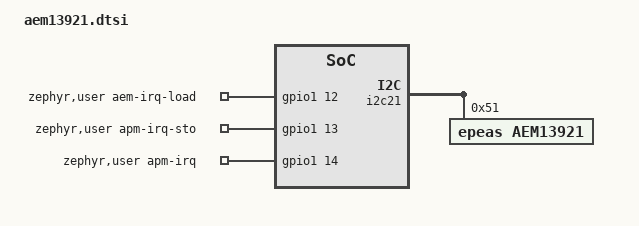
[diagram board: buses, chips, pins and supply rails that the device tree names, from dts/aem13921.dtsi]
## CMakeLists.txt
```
# SPDX-License-Identifier: Apache-2.0

cmake_minimum_required(VERSION 3.20.0)

set(EXTRA_DTC_OVERLAY_FILE "dts/dts.overlay")
set(TOOLCHAIN_HAS_PICOLIBC ON CACHE BOOL "Force toolchain picolibc support" FORCE)
list(APPEND ZEPHYR_EXTRA_MODULES "/home/theorlangur/myapps/cpp/nrf/libs/aem13921")

find_package(Zephyr REQUIRED HINTS $ENV{ZEPHYR_BASE})
project(aem13921_calibrator)

set(SRCS src/main.cpp)

target_sources(app PRIVATE ${SRCS})

target_compile_options(app PRIVATE -fno-omit-frame-pointer)

target_link_libraries(app PRIVATE c stdc++ supc++)
target_compile_options(app PRIVATE -D__cpp_concepts=202002L -Wno-builtin-macro-redefined -Wno-invalid-offsetof -Wno-unused-variable -Wno-double-promotion)
target_compile_options(app PRIVATE -freflection)
```

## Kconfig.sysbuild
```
#
# Copyright (c) 2024 Nordic Semiconductor
#
# SPDX-License-Identifier: LicenseRef-Nordic-5-Clause
#

source "${ZEPHYR_BASE}/share/sysbuild/Kconfig"

config NRF_DEFAULT_IPC_RADIO
	default y

# config NETCORE_IPC_RADIO_BT_HCI_IPC
# 	default y
```

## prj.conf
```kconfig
#
# Copyright (c) 2020 Nordic Semiconductor ASA
#
# SPDX-License-Identifier: LicenseRef-Nordic-5-Clause
#
CONFIG_SERIAL=y
CONFIG_GPIO=y
CONFIG_INPUT=y
CONFIG_LED=y
CONFIG_SENSOR=y
CONFIG_PM_DEVICE=y
CONFIG_UART_USE_RUNTIME_CONFIGURE=y
# CONFIG_UART_NRFX_CUSTOM_BAUDRATE=y

CONFIG_HEAP_MEM_POOL_SIZE=8192
CONFIG_SYSTEM_WORKQUEUE_STACK_SIZE=4096
CONFIG_OVERRIDE_FRAME_POINTER_DEFAULT=y
CONFIG_OMIT_FRAME_POINTER=n
CONFIG_EXTRA_EXCEPTION_INFO=y
CONFIG_HW_STACK_PROTECTION=y
CONFIG_DEBUG=y
# CONFIG_NO_OPTIMIZATIONS=y
# CONFIG_DEBUG_OPTIMIZATIONS=n
CONFIG_THREAD_MONITOR=y
CONFIG_DEBUG_THREAD_INFO=y

CONFIG_AEM13921=y
```

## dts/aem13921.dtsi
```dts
/ {
	zephyr,user{
		aem-irq-load-gpios = <&gpio1 12 (GPIO_PULL_DOWN | GPIO_ACTIVE_HIGH)>;
		apm-irq-sto-gpios  = <&gpio1 13 (GPIO_PULL_DOWN | GPIO_ACTIVE_HIGH)>;
		apm-irq-gpios      = <&gpio1 14 (GPIO_PULL_DOWN | GPIO_ACTIVE_HIGH)>;
	};
};


&i2c21 {
	aem13921: aem13921@51{
		compatible="epeas,aem13921";
		reg = <0x51>;
		status = "okay";
		//zephyr,deferred-init;
	};
};

&gpio1 {
	status = "okay";
};
```

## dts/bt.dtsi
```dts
/ {
	chosen {
		zephyr,bt-hci = &bt_hci_sdc;
	};
};

&bt_hci_sdc {
 status = "okay";
};
```

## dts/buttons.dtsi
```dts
/ {
	buttons: buttons {
		compatible = "gpio-keys";
		trigger: button_0 {
			gpios = <&gpio0 1 (GPIO_PULL_UP | GPIO_ACTIVE_LOW)>;
			label = "Trigger";
			zephyr,code = <INPUT_KEY_0>;
		};
	};

	zephyr,user{
		buck-enable-gpios = <&gpio1 11 (GPIO_PULL_UP | GPIO_ACTIVE_LOW)>;
		apm-src1-gpios    = <&gpio1 7 (GPIO_PULL_UP | GPIO_ACTIVE_LOW)>;
		apm-src2-gpios    = <&gpio1 6 (GPIO_PULL_UP | GPIO_ACTIVE_LOW)>;
		apm-buck-gpios    = <&gpio1 5 (GPIO_PULL_UP | GPIO_ACTIVE_LOW)>;
		apm-5v-gpios      = <&gpio1 4 (GPIO_PULL_UP | GPIO_ACTIVE_LOW)>;
	};
};

&gpio0 {
	status = "okay";
};

&gpio1 {
	status = "okay";
};
```

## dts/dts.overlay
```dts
#include "indication.dtsi"
#include "aem13921.dtsi"
#include "buttons.dtsi"
#include "bt.dtsi"

/ {
	leds {
		compatible = "gpio-leds";
		led0: led_0 {
			gpios = <&gpio2 9 GPIO_ACTIVE_HIGH>;
			label = "Red LED 0";
		};
	};
};

&gpio2 {
	status = "okay";
};

&timer20 {
	status = "okay";
};

&pinctrl {
	//i2c sensor bus
	/omit-if-no-ref/ i2c21_default: i2c21_default {
		group1 {
			psels = <NRF_PSEL(TWIM_SDA, 1, 9)>,
				<NRF_PSEL(TWIM_SCL, 1, 10)>;
		};
	};

	/omit-if-no-ref/ i2c21_sleep: i2c21_sleep {
		group1 {
			psels = <NRF_PSEL(TWIM_SDA, 1, 9)>,
				<NRF_PSEL(TWIM_SCL, 1, 10)>;
			low-power-enable;
		};
	};
};

&i2c21 {
	status = "okay";
	pinctrl-0 = <&i2c21_default>;
	pinctrl-1 = <&i2c21_sleep>;
	pinctrl-names = "default", "sleep";
};
```

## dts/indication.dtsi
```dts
/ {
	leds {
		compatible = "gpio-leds";

		measurement_active: measurement {
			gpios = <&gpio2 2 (GPIO_PULL_DOWN | GPIO_ACTIVE_HIGH)>;
			label = "MeasurementActive";
		};
	};
};

&gpio2 {
	status = "okay";
};
```

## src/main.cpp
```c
/*
 * Copyright (c) 2023, Meta
 *
 * SPDX-License-Identifier: Apache-2.0
 */

#include <zephyr/kernel.h>
#include <zephyr/drivers/gpio.h>
#include <zephyr/drivers/i2c.h>
#include <zephyr/drivers/led.h>
#include <zephyr/settings/settings.h>
#include <zephyr/input/input.h>

#include <zephyr/logging/log.h>
#include <zephyr/drivers/sensor/aem13921.hpp>

#include <zephyr/bluetooth/bluetooth.h>

LOG_MODULE_REGISTER(main_log, LOG_LEVEL_INF);


template<class... O>
struct overloaded:O...
{
    using O::operator()...;
};
template<class... O>
overloaded(O... o)->overloaded<O...>;

/**********************************************************************/
/* For testing purposes                                               */
/**********************************************************************/
#define ZEPHYR_USER_NODE DT_PATH(zephyr_user)

static const struct gpio_dt_spec buck_enable = GPIO_DT_SPEC_GET(ZEPHYR_USER_NODE, buck_enable_gpios);
static const struct gpio_dt_spec apm_src1 = GPIO_DT_SPEC_GET(ZEPHYR_USER_NODE, apm_src1_gpios);
static const struct gpio_dt_spec apm_src2 = GPIO_DT_SPEC_GET(ZEPHYR_USER_NODE, apm_src2_gpios);
static const struct gpio_dt_spec apm_buck = GPIO_DT_SPEC_GET(ZEPHYR_USER_NODE, apm_buck_gpios);
static const struct gpio_dt_spec apm_5v = GPIO_DT_SPEC_GET(ZEPHYR_USER_NODE, apm_5v_gpios);

static const struct device *const aem13921_dev = DEVICE_DT_GET(DT_NODELABEL(aem13921));
static const struct gpio_dt_spec aem13921_irq = GPIO_DT_SPEC_GET(ZEPHYR_USER_NODE, apm_irq_gpios);

static const struct gpio_dt_spec measurement_active = GPIO_DT_SPEC_GET(DT_NODELABEL(measurement_active), gpios);

static struct gpio_callback aem_cb_data;

static const struct led_dt_spec led0 = LED_DT_SPEC_GET(DT_NODELABEL(led0));


static struct bt_le_ext_adv *ext_adv;
// Up to ~240 bytes fits cleanly in a single unfragmented extended PDU
static char adv_str[220] = "AEM13921: Initial...";

static struct bt_data ad[] = {
    BT_DATA(BT_DATA_NAME_COMPLETE, adv_str, sizeof(adv_str) - 1),
};

void init_ext_beacon(uint8_t version, int err_pins, int err_aem) {
    bt_enable(nullptr);

    // Create a non-connectable, non-scannable extended advertising set
    bt_le_ext_adv_create(BT_LE_EXT_ADV_NCONN, nullptr, &ext_adv);

    int total_len;
    total_len = snprintf(adv_str, sizeof(adv_str), "AEM13921 Calibrator: ");
    if (err_pins < 0)
	total_len += snprintf(adv_str + total_len, sizeof(adv_str) - total_len, " EPins:%d(%s)", err_pins, strerror(err_pins));
    if (err_aem < 0)
	total_len += snprintf(adv_str + total_len, sizeof(adv_str) - total_len, " EAEM:%d(%s)", err_aem, strerror(-err_aem));
    if (!err_pins && !err_aem)
	total_len += snprintf(adv_str + total_len, sizeof(adv_str) - total_len, " OK, Version: %d", version);

    ad[0].data_len = total_len;
    bt_le_ext_adv_set_data(ext_adv, ad, ARRAY_SIZE(ad), nullptr, 0);
    bt_le_ext_adv_start(ext_adv, BT_LE_EXT_ADV_START_DEFAULT);
}

static uint64_t total_load_power = 0;
static struct k_work aem_work;
static struct k_work aem_finished;
static struct k_work_delayable update_cfg_delayable;

bool g_measurement_state_active = false;
bool g_first_measurement_pending = false;
bool g_async_measurement_stop_request = false;

bool buck_enable_state = false;
bool apm_src1_enable_state = false;
bool apm_src2_enable_state = false;
bool apm_buck_enable_state = false;
bool apm_5v_enable_state = false;

constexpr int measurement_duration_in_windows = (60/*seconds*/ / 0.233/*single window duration*/) + 1;
int windows_accumulated_left = 0;
int errors_encountered = 0;
size_t total_power_src1 = 0;
size_t total_power_src2 = 0;
size_t total_power_buck = 0;
size_t total_power_5v = 0;

static void aem_work_handler(struct k_work *work)
{
    auto state = epeas::aem1392x_get_irq_state(aem13921_dev);
    if (g_first_measurement_pending)
    {
	led_on_dt(&led0);
	g_first_measurement_pending = false;
	//nothing to actually read, we just wanted to clear the IRQ
	if (!g_measurement_state_active)
	{
	    //we're done
	    k_work_submit(&aem_finished);
	}
	return;
    }

    if (state)
    {
	auto s = *state;
	if (s.bits.apm_done)
	{
	    auto add_apm = [](size_t &total, const auto &apm, const char *pPrefix){
		if (apm)
		{
		    std::visit(
			    overloaded{
				[&](const epeas::apm_counter_acc_t &rv) { total += rv.get_value(); },
				[&](const epeas::apm_counter_no_acc_t &rv) { total += rv.value.counter; },
				[&](const epeas::apm_power_meter_acc_t &rv) { total += rv.get_value(); }
			    },
			    *apm
			);
		}else
		{
		    LOG_ERR("%s: failed with %d %s", pPrefix, apm.error(), strerror(apm.error()));
		}
	    };

	    if (apm_buck_enable_state)
	    {
		auto apm_load = epeas::aem1392x_get_apm_load(aem13921_dev);
		add_apm(total_power_buck, apm_load, "APM Load");
	    }

	    if (apm_src1_enable_state)
	    {
		auto apm_src1 = epeas::aem1392x_get_apm_src1(aem13921_dev);
		add_apm(total_power_src1, apm_src1, "APM Src1");
	    }

	    if (apm_src2_enable_state)
	    {
		auto apm_src2 = epeas::aem1392x_get_apm_src2(aem13921_dev);
		add_apm(total_power_src2, apm_src2, "APM Src2");
	    }

	    if (apm_5v_enable_state)
	    {
		auto apm_5v = epeas::aem1392x_get_apm_ch5v(aem13921_dev);
		if (apm_5v)
		{
		    total_power_5v += apm_5v->value;
		}else
		{
		    LOG_ERR("apm 5v: failed with %d %s", apm_5v.error(), strerror(apm_5v.error()));
		}
	    }

	    auto apm_err = epeas::aem1392x_get_apm_error(aem13921_dev);
	    LOG_INF("APM Err: 0x%X", apm_err->byte);
	}

	if (s.bits.apm_error)
	{
	    ++errors_encountered;
	    auto apm_err = epeas::aem1392x_get_apm_error(aem13921_dev);
	    if (apm_err)
	    {
		LOG_INF("APM Err: 0x%X", apm_err->byte);
	    }else
	    {
		LOG_ERR("apm err: failed with %d %s", apm_err.error(), strerror(apm_err.error()));
	    }
	}
    }else
    {
	LOG_ERR("irq state: failed with %d %s", state.error(), strerror(state.error()));
    }

    if (!g_measurement_state_active)
    {
	led_off_dt(&led0);
	//we're done
	k_work_submit(&aem_finished);
    }
}

static void aem_isr(const struct device *dev, struct gpio_callback *cb, uint32_t pins)
{
    if (g_measurement_state_active)
    {
	if (g_first_measurement_pending && !g_async_measurement_stop_request)
	{
	    //g_first_measurement_pending will be reset in aem_work and the calculations skipped
	    //here we just set the indicator pin high to show that we've started measurement
	    gpio_pin_set_dt(&measurement_active, 1);
	}else
	{
	    //normal mode
	    if (--windows_accumulated_left <= 0 || g_async_measurement_stop_request)
	    {
		//we're done
		gpio_pin_set_dt(&measurement_active, 0);
		g_measurement_state_active = false;
		g_async_measurement_stop_request = false;
	    }
	}
	k_work_submit(&aem_work);
    }
}

void update_config_pins()
{
    buck_enable_state = gpio_pin_get_dt(&buck_enable);
    apm_src1_enable_state = gpio_pin_get_dt(&apm_src1);
    apm_src2_enable_state = gpio_pin_get_dt(&apm_src2);
    apm_buck_enable_state = gpio_pin_get_dt(&apm_buck);
    apm_5v_enable_state = gpio_pin_get_dt(&apm_5v);
}

static void aem_update_cfg(struct k_work *work)
{
    update_config_pins();
    bt_le_ext_adv_stop(ext_adv);
    int total_len = snprintf(adv_str, sizeof(adv_str), "AEM13921:");
    if (buck_enable_state)
	total_len += snprintf(adv_str + total_len, sizeof(adv_str) - total_len, " B;");
    if (apm_src1_enable_state)
	total_len += snprintf(adv_str + total_len, sizeof(adv_str) - total_len, " AS1;");
    if (apm_src2_enable_state)
	total_len += snprintf(adv_str + total_len, sizeof(adv_str) - total_len, " AS2;");
    if (apm_buck_enable_state)
	total_len += snprintf(adv_str + total_len, sizeof(adv_str) - total_len, " AB;");
    if (apm_5v_enable_state)
	total_len += snprintf(adv_str + total_len, sizeof(adv_str) - total_len, " A5;");

    ad[0].data_len = total_len;
    bt_le_ext_adv_set_data(ext_adv, ad, ARRAY_SIZE(ad), nullptr, 0);
    bt_le_ext_adv_start(ext_adv, BT_LE_EXT_ADV_START_DEFAULT);
}

static struct gpio_callback cfg_update_cb;

static void update_pin_cfg_isr(const struct device *dev, struct gpio_callback *cb, uint32_t pins)
{
    if (!g_measurement_state_active)
    {
	k_work_reschedule(&update_cfg_delayable, K_MSEC(30));
    }
}

int configure_config_pins()
{
    int err = 0;
    err = gpio_pin_configure_dt(&buck_enable, GPIO_INPUT);
    if (err < 0) return err;

    err = gpio_pin_configure_dt(&apm_src1, GPIO_INPUT);
    if (err < 0) return err;

    err = gpio_pin_configure_dt(&apm_src2, GPIO_INPUT);
    if (err < 0) return err;

    err = gpio_pin_configure_dt(&apm_buck, GPIO_INPUT);
    if (err < 0) return err;

    err = gpio_pin_configure_dt(&apm_5v, GPIO_INPUT);
    if (err < 0) return err;

    err = gpio_pin_configure_dt(&measurement_active, GPIO_OUTPUT);
    if (err < 0) return err;

    k_work_init_delayable(&update_cfg_delayable, aem_update_cfg);
    err = gpio_pin_interrupt_configure_dt(&buck_enable, GPIO_INT_EDGE_BOTH);
    if (err < 0) return err;
    err = gpio_pin_interrupt_configure_dt(&apm_src1, GPIO_INT_EDGE_BOTH);
    if (err < 0) return err;
    err = gpio_pin_interrupt_configure_dt(&apm_src2, GPIO_INT_EDGE_BOTH);
    if (err < 0) return err;
    err = gpio_pin_interrupt_configure_dt(&apm_buck, GPIO_INT_EDGE_BOTH);
    if (err < 0) return err;
    err = gpio_pin_interrupt_configure_dt(&apm_5v, GPIO_INT_EDGE_BOTH);
    if (err < 0) return err;
    gpio_init_callback(&cfg_update_cb, update_pin_cfg_isr, BIT(buck_enable.pin) | BIT(apm_src1.pin) | BIT(apm_src2.pin) | BIT(apm_buck.pin) | BIT(apm_5v.pin));
    err = gpio_add_callback(apm_src1.port, &cfg_update_cb);
    if (err < 0) return err;

    return err;
}

int update_aem_configuration()
{
    if (buck_enable_state)
	epeas::aem1392x_configure_buck(aem13921_dev, epeas::buck_cfg_t{.bits = {.vload = epeas::vload_t::_3_0V, .tmult = epeas::tmult_t::x4}});
    else
	epeas::aem1392x_configure_buck(aem13921_dev, epeas::buck_cfg_t{.bits = {.vload = epeas::vload_t::off, .tmult = epeas::tmult_t::x4}});

    epeas::apm_cfg_t apm_cfg{.bits = {
	.src1 = apm_src1_enable_state,
	.src2 = apm_src2_enable_state,
	.buck = apm_buck_enable_state,
	.ch5v = apm_5v_enable_state,
	.mode = epeas::apm_mode_t::PowerMeter, 
	.win = epeas::apm_window_t::_233ms
    }};
    epeas::aem1392x_configure_src_boost(aem13921_dev, epeas::src_t::_1, epeas::boost_cfg_t{.bits = {.enabled = apm_cfg.bits.src1, .high_power = true}});
    epeas::aem1392x_configure_src_boost(aem13921_dev, epeas::src_t::_2, epeas::boost_cfg_t{.bits = {.enabled = apm_cfg.bits.src2, .high_power = true}});

    if (apm_src1_enable_state)
	epeas::aem1392x_configure_src_regulation_voltage(aem13921_dev, epeas::src_t::_1, 1.5f);
    if (apm_src2_enable_state)
	epeas::aem1392x_configure_src_regulation_voltage(aem13921_dev, epeas::src_t::_2, 1.5f);

    epeas::aem1392x_set_storage_overdischarge_threshold_voltage(aem13921_dev, 3.3f);
    epeas::aem1392x_set_storage_charge_ready_threshold_voltage(aem13921_dev, 3.4f);
    epeas::aem1392x_set_storage_overcharge_threshold_voltage(aem13921_dev, 3.8f);

    {
	epeas::voltage5v_t cfg{};
	cfg.bits.enabled = apm_cfg.bits.ch5v;
	cfg.bits.enabled_cv = false;
	cfg.bits.threshold = 0;
	epeas::aem1392x_configure_5v_charger(aem13921_dev, cfg);
    }

    epeas::aem1392x_configure_apm(aem13921_dev, apm_cfg);
    epeas::aem1392x_set_apm_accumulation_period(aem13921_dev, 1);
    bool needs_irq = (apm_cfg.byte & 0xF) != 0;//first four bits -> enable bits for APM
    {
	epeas::irq_event_t irq_cfg;
	irq_cfg.set_apm_done(needs_irq);
	irq_cfg.set_apm_error(needs_irq);
	epeas::aem1392x_configure_irq(aem13921_dev, irq_cfg);
    }
    if (needs_irq)
    {
	[[maybe_unused]]auto state = epeas::aem1392x_get_irq_state(aem13921_dev);//just to allow future IRQs
    }
    epeas::aem1392x_commit(aem13921_dev);
    return 0;
}

void prepare_measurements()
{
    g_async_measurement_stop_request = false;
    windows_accumulated_left = measurement_duration_in_windows;
    errors_encountered = 0;
    total_power_src1 = 0;
    total_power_src2 = 0;
    total_power_buck = 0;
    total_power_5v = 0;
    g_first_measurement_pending = true;
}

extern "C" void trigger_input_cb(struct input_event *evt, void *user_data)
{
    if (evt->type == INPUT_EV_KEY && evt->code == INPUT_KEY_0 && evt->value == 1) {
	g_measurement_state_active = !g_measurement_state_active;
	LOG_INF("trigger pressed: new active state: %d", g_measurement_state_active);
	if (g_measurement_state_active)
	{
	    bt_le_ext_adv_stop(ext_adv);
	    update_config_pins();
	    if (apm_src1_enable_state || apm_src2_enable_state || apm_buck_enable_state || apm_5v_enable_state)
		prepare_measurements();
	    update_aem_configuration();
	}else
	{
	    //request to stop whatever is running now
	    g_async_measurement_stop_request = true;
	}
    }
}
INPUT_CALLBACK_DEFINE(DEVICE_DT_GET(DT_NODELABEL(buttons)), trigger_input_cb, NULL);


static void aem_work_done(struct k_work *work)
{
    bt_le_ext_adv_stop(ext_adv);
    //enable/update BLE beacon
    int windows_collected = measurement_duration_in_windows - windows_accumulated_left;
    int total_len = snprintf(adv_str, sizeof(adv_str), "AEM13921: W:%d; E:%d;", windows_collected, errors_encountered);
    if (apm_src1_enable_state)
    {
	double avg_power = windows_collected ? double(total_power_src1) / windows_collected : 0;
	total_len += snprintf(adv_str + total_len, sizeof(adv_str) - total_len, " S1:%.2lf;", avg_power);
    }
    if (apm_src2_enable_state)
    {
	double avg_power = windows_collected ? double(total_power_src2) / windows_collected : 0;
	total_len += snprintf(adv_str + total_len, sizeof(adv_str) - total_len, " S2:%.2f;", avg_power);
    }
    if (apm_buck_enable_state)
    {
	double avg_power = windows_collected ? double(total_power_buck) / windows_collected : 0;
	total_len += snprintf(adv_str + total_len, sizeof(adv_str) - total_len, " B:%.2f;", avg_power);
    }
    if (apm_5v_enable_state)
    {
	double avg_power = windows_collected ? double(total_power_5v) / windows_collected : 0;
	total_len += snprintf(adv_str + total_len, sizeof(adv_str) - total_len, " 5:%.2f;", avg_power);
    }
    ad[0].data_len = total_len;
    bt_le_ext_adv_set_data(ext_adv, ad, ARRAY_SIZE(ad), nullptr, 0);
    bt_le_ext_adv_start(ext_adv, BT_LE_EXT_ADV_START_DEFAULT);
}

int configure_aem_isr()
{
    k_work_init(&aem_work, aem_work_handler);
    k_work_init(&aem_finished, aem_work_done);
    int err = 0;
    err = gpio_pin_configure_dt(&aem13921_irq, GPIO_INPUT);
    if (err < 0) 
    {
	LOG_INF("aem13921_irq cfg: %d (%s)", err, strerror(err));
	return err;
    }
    err = gpio_pin_interrupt_configure_dt(&aem13921_irq, GPIO_INT_EDGE_TO_ACTIVE);
    gpio_init_callback(&aem_cb_data, aem_isr, BIT(aem13921_irq.pin));
    err = gpio_add_callback(aem13921_irq.port, &aem_cb_data);
    if (err < 0)
    {
	LOG_INF("aem13921_irq cb: %d (%s)", err, strerror(err));
	return err;
    }
    return err;
}

int main(void)
{
    uint8_t v = 0;
    int err_pins = 0, err_aem = 0;
    err_pins = configure_config_pins();
    if (device_is_ready(aem13921_dev))
    {
	err_aem = epeas::aem1392x_get_version(aem13921_dev, &v);
	if (err_aem < 0) 
	    LOG_INF("cfg pins: %d (%s)", err_aem, strerror(err_aem));
	err_aem = configure_aem_isr();
    }else
    {
	err_aem = -ENODEV;
    }

    init_ext_beacon(v, err_pins, err_aem);

    if (err_pins || err_aem)
    {
	while (1) {
	    led_on_dt(&led0);
	    k_msleep(300);
	    led_off_dt(&led0);
	    k_msleep(300);

	}
    }else
    {
	while (1) k_sleep(K_FOREVER);
    }

    return 0;
}
```
